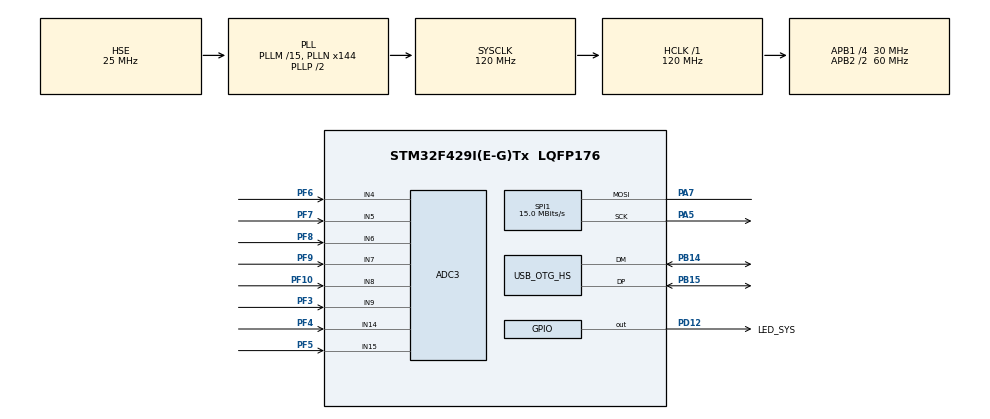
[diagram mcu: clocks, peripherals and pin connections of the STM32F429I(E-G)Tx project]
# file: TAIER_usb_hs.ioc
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ADC3.Channel-0\#ChannelRegularConversion=ADC_CHANNEL_6
ADC3.Channel-1\#ChannelRegularConversion=ADC_CHANNEL_7
ADC3.Channel-2\#ChannelRegularConversion=ADC_CHANNEL_5
ADC3.Channel-3\#ChannelRegularConversion=ADC_CHANNEL_4
ADC3.Channel-4\#ChannelRegularConversion=ADC_CHANNEL_15
ADC3.Channel-5\#ChannelRegularConversion=ADC_CHANNEL_14
ADC3.Channel-6\#ChannelRegularConversion=ADC_CHANNEL_9
ADC3.Channel-7\#ChannelRegularConversion=ADC_CHANNEL_8
ADC3.DMAContinuousRequests=ENABLE
ADC3.NbrOfConversion=8
ADC3.NbrOfConversionFlag=1
ADC3.Rank-0\#ChannelRegularConversion=1
ADC3.Rank-1\#ChannelRegularConversion=2
ADC3.Rank-2\#ChannelRegularConversion=3
ADC3.Rank-3\#ChannelRegularConversion=4
ADC3.Rank-4\#ChannelRegularConversion=5
ADC3.Rank-5\#ChannelRegularConversion=6
ADC3.Rank-6\#ChannelRegularConversion=7
ADC3.Rank-7\#ChannelRegularConversion=8
ADC3.SamplingTime-0\#ChannelRegularConversion=ADC_SAMPLETIME_144CYCLES
ADC3.SamplingTime-1\#ChannelRegularConversion=ADC_SAMPLETIME_144CYCLES
ADC3.SamplingTime-2\#ChannelRegularConversion=ADC_SAMPLETIME_144CYCLES
ADC3.SamplingTime-3\#ChannelRegularConversion=ADC_SAMPLETIME_144CYCLES
ADC3.SamplingTime-4\#ChannelRegularConversion=ADC_SAMPLETIME_144CYCLES
ADC3.SamplingTime-5\#ChannelRegularConversion=ADC_SAMPLETIME_144CYCLES
ADC3.SamplingTime-6\#ChannelRegularConversion=ADC_SAMPLETIME_144CYCLES
ADC3.SamplingTime-7\#ChannelRegularConversion=ADC_SAMPLETIME_144CYCLES
ADC3.ScanConvMode=ENABLE
Dma.ADC3.0.Direction=DMA_PERIPH_TO_MEMORY
Dma.ADC3.0.FIFOMode=DMA_FIFOMODE_ENABLE
Dma.ADC3.0.FIFOThreshold=DMA_FIFO_THRESHOLD_HALFFULL
Dma.ADC3.0.Instance=DMA2_Stream0
Dma.ADC3.0.MemBurst=DMA_MBURST_SINGLE
Dma.ADC3.0.MemDataAlignment=DMA_MDATAALIGN_HALFWORD
Dma.ADC3.0.MemInc=DMA_MINC_ENABLE
Dma.ADC3.0.Mode=DMA_CIRCULAR
Dma.ADC3.0.PeriphBurst=DMA_PBURST_SINGLE
Dma.ADC3.0.PeriphDataAlignment=DMA_PDATAALIGN_HALFWORD
Dma.ADC3.0.PeriphInc=DMA_PINC_DISABLE
Dma.ADC3.0.Priority=DMA_PRIORITY_HIGH
Dma.Request0=ADC3
FREERTOS.BinarySemaphores01=cmdToHandle,Dynamic,NULL,Available
FREERTOS.Mutexes01=xMutexMsgBuff,Dynamic,NULL,Available
FREERTOS.Queues01=xQueueLinkUsbRecvCmd,8,FS_LINK_CMD_FMT,0,Dynamic,NULL,NULL
FREERTOS.Tasks01=defaultTask,24,256,StartDefaultTask,Default,NULL,Dynamic,NULL,NULL;LINK_USB_CMD,26,512,vTaskLinkUsbCmdProcess,Default,NULL,Dynamic,NULL,NULL;LINK_USB_SEND,28,256,vTaskSendMsgToHost,Default,NULL,Dynamic,NULL,NULL;Preesure_Test,25,256,Preesure_Test_Task,Default,NULL,Dynamic,NULL,NULL;cmd_handle,42,128,cmdHandleTask,Default,NULL,Dynamic,NULL,NULL
FREERTOS.configCHECK_FOR_STACK_OVERFLOW=2
FREERTOS.configGENERATE_RUN_TIME_STATS=1
FREERTOS.configTOTAL_HEAP_SIZE=65536
FREERTOS.configUSE_STATS_FORMATTING_FUNCTIONS=1
Mcu.Family=STM32F4
Mcu.Name=STM32F429I(E-G)Tx
Mcu.Package=LQFP176
NVIC.DMA2_Stream0_IRQn=true\:5\:0\:false\:false\:true\:true\:false\:true\:true
NVIC.OTG_HS_EP1_IN_IRQn=true\:5\:0\:false\:false\:true\:true\:true\:true\:true
NVIC.OTG_HS_EP1_OUT_IRQn=true\:5\:0\:false\:false\:true\:true\:true\:true\:true
NVIC.OTG_HS_IRQn=true\:5\:0\:false\:false\:true\:true\:true\:true\:true
NVIC.PriorityGroup=NVIC_PRIORITYGROUP_4
PA13.Mode=Serial_Wire
PA13.Signal=SYS_JTMS-SWDIO
PA14.Mode=Serial_Wire
PA14.Signal=SYS_JTCK-SWCLK
PA5.Mode=Simplex_Bidirectional_Master
PA5.Signal=SPI1_SCK
PA7.Mode=Simplex_Bidirectional_Master
PA7.Signal=SPI1_MOSI
PB14.Mode=Device_Only_FS
PB14.Signal=USB_OTG_HS_DM
PB15.Mode=Device_Only_FS
PB15.Signal=USB_OTG_HS_DP
PC14/OSC32_IN.Mode=LSE-External-Oscillator
PC14/OSC32_IN.Signal=RCC_OSC32_IN
PC15/OSC32_OUT.Mode=LSE-External-Oscillator
PC15/OSC32_OUT.Signal=RCC_OSC32_OUT
PD12.GPIO_Label=LED_SYS
PD12.Signal=GPIO_Output
PF10.Mode=IN8
PF10.Signal=ADC3_IN8
PF3.Mode=IN9
PF3.Signal=ADC3_IN9
PF4.Mode=IN14
PF4.Signal=ADC3_IN14
PF5.Mode=IN15
PF5.Signal=ADC3_IN15
PF6.Mode=IN4
PF6.Signal=ADC3_IN4
PF7.Mode=IN5
PF7.Signal=ADC3_IN5
PF8.Mode=IN6
PF8.Signal=ADC3_IN6
PF9.Mode=IN7
PF9.Signal=ADC3_IN7
PH0/OSC_IN.Mode=HSE-External-Oscillator
PH0/OSC_IN.Signal=RCC_OSC_IN
PH1/OSC_OUT.Mode=HSE-External-Oscillator
PH1/OSC_OUT.Signal=RCC_OSC_OUT
ProjectManager.HeapSize=0x8000
ProjectManager.StackSize=0x8000
ProjectManager.TargetToolchain=MDK-ARM V5.32
RCC.48MHZClocksFreq_Value=48000000
RCC.AHBFreq_Value=120000000
RCC.APB1CLKDivider=RCC_HCLK_DIV4
RCC.APB1Freq_Value=30000000
RCC.APB1TimFreq_Value=60000000
RCC.APB2CLKDivider=RCC_HCLK_DIV2
RCC.APB2Freq_Value=60000000
RCC.APB2TimFreq_Value=120000000
RCC.CortexFreq_Value=120000000
RCC.HCLKFreq_Value=120000000
RCC.HSE_VALUE=25000000
RCC.HSI_VALUE=16000000
RCC.PLLM=15
RCC.PLLN=144
RCC.PLLQ=5
RCC.SYSCLKFreq_VALUE=120000000
RCC.SYSCLKSource=RCC_SYSCLKSOURCE_PLLCLK
RCC.VCOOutputFreq_Value=240000000
SPI1.BaudRatePrescaler=SPI_BAUDRATEPRESCALER_4
SPI1.CLKPolarity=SPI_POLARITY_HIGH
SPI1.CRCCalculation=SPI_CRCCALCULATION_ENABLE
SPI1.CRCPolynomial=X0+X1+X2
SPI1.CalculateBaudRate=15.0 MBits/s
SPI1.DataSize=SPI_DATASIZE_16BIT
SPI1.Direction=SPI_DIRECTION_1LINE
SPI1.Mode=SPI_MODE_MASTER
SPI1.VirtualType=VM_MASTER
TIM10.Period=600-1
TIM10.Prescaler=10-1
USB_DEVICE.CLASS_NAME_HS=CDC
USB_DEVICE.CONFIGURATION_STRING_CDC_HS=WINUSB Config
USB_DEVICE.INTERFACE_STRING_CDC_HS=WINUSB Interface
USB_DEVICE.PID_CDC_HS=0xabcd
USB_DEVICE.PRODUCT_STRING_CDC_HS=TAIER
USB_DEVICE.VID-CDC_HS=0x1234
USB_DEVICE.VirtualMode-CDC_HS=Cdc
USB_DEVICE.VirtualModeHS=Cdc_HS
USB_OTG_HS.VirtualMode-Device_Only_FS=Device_Only_FS
VP_FREERTOS_VS_CMSIS_V2.Mode=CMSIS_V2
VP_TIM10_VS_ClockSourceINT.Mode=Enable_Timer
VP_USB_DEVICE_VS_USB_DEVICE_CDC_HS.Mode=CDC_HS
board=custom

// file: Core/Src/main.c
/* USER CODE BEGIN Header */
/**
  ******************************************************************************
  * @file           : main.c
  * @brief          : Main program body
  ******************************************************************************
  * @attention
  *
  * Copyright (c) 2024 STMicroelectronics.
  * All rights reserved.
  *
  * This software is licensed under terms that can be found in the LICENSE file
  * in the root directory of this software component.
  * If no LICENSE file comes with this software, it is provided AS-IS.
  *
  ******************************************************************************
  */
/* USER CODE END Header */
#include "main.h"
#include "cmsis_os.h"
#include "adc.h"
#include "dma.h"
#include "spi.h"
#include "tim.h"
#include "usb_device.h"
#include "gpio.h"

/* USER CODE BEGIN Includes */
#include "SEGGER_RTT.h"
/* USER CODE END Includes */

/* USER CODE BEGIN PD */
/* With GCC, small printf (option LD Linker->Libraries->Small printf set to 'Yes') calls __io_putchar() */
#ifdef __GNUC__
#define PUTCHAR_PROTOTYPE int __io_putchar(int ch) // 实现__io_putchar函数
#else
#define PUTCHAR_PROTOTYPE int fputc(int ch, FILE *f)
#endif /* __GNUC__ */
/* USER CODE END PD */

void SystemClock_Config(void);
void MX_FREERTOS_Init(void);

/* USER CODE BEGIN 0 */
PUTCHAR_PROTOTYPE
{
	// 实际发�?�操作，这里可以改成自己真实�?要操作的端口
  // HAL_UART_Transmit(&huart3, (uint8_t *)&ch, 1, 0xFFFF);
  SEGGER_RTT_PutChar(0, ch);
  return ch;
}
/* USER CODE END 0 */

int main(void)
{

  /* MCU Configuration--------------------------------------------------------*/

  /* Reset of all peripherals, Initializes the Flash interface and the Systick. */
  HAL_Init();

  /* Configure the system clock */
  SystemClock_Config();

  /* Initialize all configured peripherals */
  MX_GPIO_Init();
  MX_DMA_Init();
  MX_ADC3_Init();
  MX_SPI1_Init();
  MX_TIM10_Init();
  /* USER CODE BEGIN 2 */
  SEGGER_RTT_Init();
  SEGGER_RTT_TerminalOut(0, RTT_CTRL_CLEAR RTT_CTRL_BG_BLACK \
                            RTT_CTRL_TEXT_BRIGHT_GREEN "RTT Terminal 0 is ready.\r\n" \
                            RTT_CTRL_TEXT_BRIGHT_WHITE);
  /* USER CODE END 2 */

  /* Init scheduler */
  osKernelInitialize();

  /* Call init function for freertos objects (in cmsis_os2.c) */
  MX_FREERTOS_Init();

  /* Start scheduler */
  osKernelStart();

  /* We should never get here as control is now taken by the scheduler */

  /* Infinite loop */
  while (1)
  {

  }
}

void SystemClock_Config(void)
{
  RCC_OscInitTypeDef RCC_OscInitStruct = {0};
  RCC_ClkInitTypeDef RCC_ClkInitStruct = {0};

  /** Configure the main internal regulator output voltage
  */
  __HAL_RCC_PWR_CLK_ENABLE();
  __HAL_PWR_VOLTAGESCALING_CONFIG(PWR_REGULATOR_VOLTAGE_SCALE3);

  /** Initializes the RCC Oscillators according to the specified parameters
  * in the RCC_OscInitTypeDef structure.
  */
  RCC_OscInitStruct.OscillatorType = RCC_OSCILLATORTYPE_HSE;
  RCC_OscInitStruct.HSEState = RCC_HSE_ON;
  RCC_OscInitStruct.PLL.PLLState = RCC_PLL_ON;
  RCC_OscInitStruct.PLL.PLLSource = RCC_PLLSOURCE_HSE;
  RCC_OscInitStruct.PLL.PLLM = 15;
  RCC_OscInitStruct.PLL.PLLN = 144;
  RCC_OscInitStruct.PLL.PLLP = RCC_PLLP_DIV2;
  RCC_OscInitStruct.PLL.PLLQ = 5;
  if (HAL_RCC_OscConfig(&RCC_OscInitStruct) != HAL_OK)
  {
    Error_Handler();
  }

  /** Initializes the CPU, AHB and APB buses clocks
  */
  RCC_ClkInitStruct.ClockType = RCC_CLOCKTYPE_HCLK|RCC_CLOCKTYPE_SYSCLK
                              |RCC_CLOCKTYPE_PCLK1|RCC_CLOCKTYPE_PCLK2;
  RCC_ClkInitStruct.SYSCLKSource = RCC_SYSCLKSOURCE_PLLCLK;
  RCC_ClkInitStruct.AHBCLKDivider = RCC_SYSCLK_DIV1;
  RCC_ClkInitStruct.APB1CLKDivider = RCC_HCLK_DIV4;
  RCC_ClkInitStruct.APB2CLKDivider = RCC_HCLK_DIV2;

  if (HAL_RCC_ClockConfig(&RCC_ClkInitStruct, FLASH_LATENCY_3) != HAL_OK)
  {
    Error_Handler();
  }
}

void Error_Handler(void)
{
  __disable_irq();
  while (1)
  {
  }
}

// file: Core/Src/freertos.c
/* USER CODE BEGIN Header */
/**
  ******************************************************************************
  * File Name          : freertos.c
  * Description        : Code for freertos applications
  ******************************************************************************
  * @attention
  *
  * Copyright (c) 2024 STMicroelectronics.
  * All rights reserved.
  *
  * This software is licensed under terms that can be found in the LICENSE file
  * in the root directory of this software component.
  * If no LICENSE file comes with this software, it is provided AS-IS.
  *
  ******************************************************************************
  */
/* USER CODE END Header */

#include "FreeRTOS.h"
#include "task.h"
#include "main.h"
#include "cmsis_os.h"

/* USER CODE BEGIN Includes */
//---------------ADD WT--------------------------
#include "usbd_cdc_if.h"
#include "LinkUsb.h"
#include "queue.h"
#include "stdbool.h"
#include "THE_CMD.h"
//----------------------------------------------------
#include "tim.h"

#include "SEGGER_RTT.h"
#include "lua.h"     // Lua数据类型与函数接�??
#include "lauxlib.h" // Lua与C交互辅助函数接口
#include "lualib.h"  // Lua标准库打�??接口

// #define LUA_LIB
// #include "luaconf.h" // Lua配置文件
#include "lapi.h"
/* USER CODE END Includes */

/* USER CODE BEGIN PD */
#define MSG_BUFF_SIZE 2560	   // 上传给HOST的MSG数据缓冲�????
#define MAX_MSG_LENTH 512
/* USER CODE END PD */

/* USER CODE BEGIN PM */
void *rtos_alloc_for_lua(void *ud, void *ptr, size_t osize, size_t nsize);
void Report_MSG(char *p);
void Report_Test_Script_State(char *p);
bool AddHostCmdtoQueue(uint8_t* pRecvBuff, uint32_t count);
/* USER CODE END PM */

/* USER CODE BEGIN Variables */
//--------------ADD WT-----------------------
uint8_t usb_ep1_rx[2048];
uint8_t usb_ep1_tx[40960];

uint8_t usb_ep3_rx[2048];
uint8_t usb_ep3_tx[40960];

uint8_t usb_ep4_rx[2048];
uint8_t usb_ep4_tx[40960];

volatile int8_t usb_ep1_rxne = RESET;
volatile int8_t usb_ep3_rxne = RESET;
volatile int8_t usb_ep4_rxne = RESET;
volatile int8_t usb_ep3_txne = RESET;
volatile int8_t usb_ep4_txne = RESET;

extern USBD_HandleTypeDef hUsbDeviceHS;
extern uint8_t UserRxBufferHS[APP_RX_DATA_SIZE];

uint8_t MsgSendBuffA[MSG_BUFF_SIZE+28];
uint8_t MsgSendBuffB[MSG_BUFF_SIZE+28];
uint8_t* pCurBuffer = MsgSendBuffA;
uint32_t  MsgSendBuffOffset = 0;

static  uint8_t USB_TX_pktSn =0;
char charBuf[MAX_MSG_LENTH];
uint8_t Test_Script_State_Content[2] = {0x00,0x00};

static RUN_SCRIPT_CMD_FMT RunScriptCmd;
xTaskHandle vHandleTaskRunOneScript;
#define SCRIPT_RUNNER_PRIO   (osPriorityNormal1)
lua_State *L;
uint32_t LED_DELAY = 500;
//-----------------------------------------------

/* USER CODE END Variables */
/* Definitions for defaultTask */
osThreadId_t defaultTaskHandle;
const osThreadAttr_t defaultTask_attributes = {
  .name = "defaultTask",
  .stack_size = 256 * 4,
  .priority = (osPriority_t) osPriorityNormal,
};
/* Definitions for LINK_USB_CMD */
osThreadId_t LINK_USB_CMDHandle;
const osThreadAttr_t LINK_USB_CMD_attributes = {
  .name = "LINK_USB_CMD",
  .stack_size = 512 * 4,
  .priority = (osPriority_t) osPriorityNormal2,
};
/* Definitions for LINK_USB_SEND */
osThreadId_t LINK_USB_SENDHandle;
const osThreadAttr_t LINK_USB_SEND_attributes = {
  .name = "LINK_USB_SEND",
  .stack_size = 256 * 4,
  .priority = (osPriority_t) osPriorityNormal4,
};
/* Definitions for Preesure_Test */
osThreadId_t Preesure_TestHandle;
const osThreadAttr_t Preesure_Test_attributes = {
  .name = "Preesure_Test",
  .stack_size = 128 * 4,
  .priority = (osPriority_t) osPriorityNormal1,
};
/* Definitions for cmd_handle */
osThreadId_t cmd_handleHandle;
const osThreadAttr_t cmd_handle_attributes = {
  .name = "cmd_handle",
  .stack_size = 384 * 4,
  .priority = (osPriority_t) osPriorityHigh2,
};
/* Definitions for xQueueLinkUsbRecvCmd */
osMessageQueueId_t xQueueLinkUsbRecvCmdHandle;
const osMessageQueueAttr_t xQueueLinkUsbRecvCmd_attributes = {
  .name = "xQueueLinkUsbRecvCmd"
};
/* Definitions for xMutexMsgBuff */
osMutexId_t xMutexMsgBuffHandle;
const osMutexAttr_t xMutexMsgBuff_attributes = {
  .name = "xMutexMsgBuff"
};
/* Definitions for cmdToHandle */
osSemaphoreId_t cmdToHandleHandle;
const osSemaphoreAttr_t cmdToHandle_attributes = {
  .name = "cmdToHandle"
};

/* USER CODE BEGIN FunctionPrototypes */
void WinUSB_Receive_HS()
{
	uint16_t i = 0;
	if (usb_ep1_rxne == SET)
	{
		i = usb_ep1_rx[0] + (usb_ep1_rx[1]<<8);
		CDC_Transmit_HS(usb_ep1_rx, i, CDC_IN_EP);
		usb_ep1_rxne = RESET;
	}
	else if(usb_ep3_txne == SET)
	{
		i = usb_ep3_rx[0] + (usb_ep3_rx[1]<<8);
		CDC_Transmit_HS(usb_ep3_rx, i, FS_LINK_IN_EP);
		usb_ep3_rxne = RESET;
	}
  else if(usb_ep4_rxne == SET)
	{
		i = usb_ep4_rx[0] + (usb_ep4_rx[1]<<8);
		CDC_Transmit_HS(usb_ep4_rx, i, EP_ADC_IN);
		usb_ep4_rxne = RESET;
	}
  else if(usb_ep3_rxne == SET)
	{
		i = usb_ep3_rx[0] + (usb_ep3_rx[1]<<8);
		CDC_Transmit_HS(usb_ep3_rx+2, i, FS_LINK_IN_EP);
		usb_ep3_rxne = RESET;
	}

}
//------------------------------------------
/* USER CODE END FunctionPrototypes */

void StartDefaultTask(void *argument);
void vTaskLinkUsbCmdProcess(void *argument);
void vTaskSendMsgToHost(void *argument);
void Preesure_Test_Task(void *argument);
void cmdHandleTask(void *argument);

extern void MX_USB_DEVICE_Init(void);
void MX_FREERTOS_Init(void); /* (MISRA C 2004 rule 8.1) */

/* Hook prototypes */
void configureTimerForRunTimeStats(void);
unsigned long getRunTimeCounterValue(void);
void vApplicationStackOverflowHook(xTaskHandle xTask, signed char *pcTaskName);

/* USER CODE BEGIN 1 */
/* Functions needed when configGENERATE_RUN_TIME_STATS is on */
__weak void configureTimerForRunTimeStats(void)
{
  HAL_TIM_Base_Start_IT(&htim10);
}

__weak unsigned long getRunTimeCounterValue(void)
{
  return (unsigned long)htim10.Instance->CNT;
}
/* USER CODE END 1 */

/* USER CODE BEGIN 4 */
void vApplicationStackOverflowHook(xTaskHandle xTask, signed char *pcTaskName)
{
  (void)xTask;  (void)pcTaskName;
   /* Run time stack overflow checking is performed if
   configCHECK_FOR_STACK_OVERFLOW is defined to 1 or 2. This hook function is
   called if a stack overflow is detected. */
}
/* USER CODE END 4 */

void MX_FREERTOS_Init(void) {
  /* Create the mutex(es) */
  /* creation of xMutexMsgBuff */
  xMutexMsgBuffHandle = osMutexNew(&xMutexMsgBuff_attributes);

  /* Create the semaphores(s) */
  /* creation of cmdToHandle */
  cmdToHandleHandle = osSemaphoreNew(1, 1, &cmdToHandle_attributes);

  /* Create the queue(s) */
  /* creation of xQueueLinkUsbRecvCmd */
  xQueueLinkUsbRecvCmdHandle = osMessageQueueNew (8, sizeof(FS_LINK_CMD_FMT), &xQueueLinkUsbRecvCmd_attributes);

  /* Create the thread(s) */
  /* creation of defaultTask */
  defaultTaskHandle = osThreadNew(StartDefaultTask, NULL, &defaultTask_attributes);

  /* creation of LINK_USB_CMD */
  LINK_USB_CMDHandle = osThreadNew(vTaskLinkUsbCmdProcess, NULL, &LINK_USB_CMD_attributes);

  /* creation of LINK_USB_SEND */
  LINK_USB_SENDHandle = osThreadNew(vTaskSendMsgToHost, NULL, &LINK_USB_SEND_attributes);

  /* creation of Preesure_Test */
  Preesure_TestHandle = osThreadNew(Preesure_Test_Task, NULL, &Preesure_Test_attributes);

  /* creation of cmd_handle */
  cmd_handleHandle = osThreadNew(cmdHandleTask, NULL, &cmd_handle_attributes);

}

/* USER CODE BEGIN Header_StartDefaultTask */
/**
  * @brief  Function implementing the defaultTask thread.
  * @param  argument: Not used
  * @retval None
  */

static int lua_tester(lua_State* L)
{
    printf("Lua tester runned!\r\n");
    return 0;
}

static int lua_delay(lua_State* L)
{
    // 确保栈上只有�?个参�?
    int nargs = lua_gettop(L);
    if (nargs != 1) {
        lua_pushstring(L, "The number of arguments must be 1 in delay!");
        lua_error(L);
        return 0;
    }

    // 读取参数
    lua_Integer ticks = luaL_checkinteger(L, 1);
    if (ticks < 1 || ticks > 0xFFFFFFFF) {
        lua_pushstring(L, "The delay time must be between 1 and 4294967295!");
        lua_error(L);
        return 0;
    }

    osDelay((uint32_t)ticks);

    // 没有返回值，无需将结果压回栈�?
    // lua_pushnumber(L, sum);
    // 返回值的数量
    return 0;
}

static int lua_led_on(lua_State* L)
{
    HAL_GPIO_WritePin(LED_SYS_GPIO_Port, LED_SYS_Pin, GPIO_PIN_RESET);
    return 0;
}

static int lua_led_off(lua_State* L)
{
    HAL_GPIO_WritePin(LED_SYS_GPIO_Port, LED_SYS_Pin, GPIO_PIN_SET);
    return 0;
}

/* USER CODE END Header_StartDefaultTask */
void StartDefaultTask(void *argument)
{
  /* init code for USB_DEVICE */
  MX_USB_DEVICE_Init();
  /* USER CODE BEGIN StartDefaultTask */

  /*
  // 创建 Lua 线程
  lua_State *L = lua_newstate(rtos_alloc_for_lua, NULL);
  if(L != NULL) {
    printf("Lua State Created.\r\n");
  } else {
    printf("Lua State Create Failed!\r\n");
  }
  lua_gc(L, LUA_GCSTOP); // 停止垃圾回收
  luaL_openlibs(L); // 打开标准�?

  // 创建 Lua 任务
  luaL_dostring(L, "print('Naisu, Lua!')");

  // 自定�? C 函数�?
  static const struct luaL_Reg func_lib[] = {
      {"test_print", lua_tester},
      {"delay", lua_delay},
      {"led_on", lua_led_on},
      {"led_off", lua_led_off},
      {NULL, NULL}
  };
  luaL_newlib(L, func_lib); // 创建�?个新的库
  lua_setglobal(L, "testlib"); // 将库设置为全�?变量
  luaL_dostring(L, "testlib.test_print()"); // 通过库调用函�?

  // Lua 循环�?
  luaL_dostring(L, "while true do \
                      testlib.led_on() \
                      testlib.delay(500) \
                      testlib.led_off() \
                      testlib.delay(500) \
                    end");

  */
  /* Infinite loop */
  for(;;)
  {
    // HAL_GPIO_TogglePin(LED_SYS_GPIO_Port, LED_SYS_Pin);
    osDelay(200); // LED 闪烁表明运行到了此处
  }
  /* USER CODE END StartDefaultTask */
}

/* USER CODE BEGIN Header_vTaskLinkUsbCmdProcess */
/**
* @brief Function implementing the myTask02 thread.
* @param argument: Not used
* @retval None
*/
static int lua_change_led_delay(lua_State* L)
{
    // 确保栈上只有�?个参�?
    int nargs = lua_gettop(L);
    if (nargs != 1) {
        lua_pushstring(L, "The number of arguments must be 1 in change led delay!");
        lua_error(L);
        return 0;
    }

    // 读取参数
    lua_Integer ticks = luaL_checkinteger(L, 1);
    if (ticks < 1 || ticks > 0xFFFFFFFF) {
        lua_pushstring(L, "The delay time must be between 1 and 4294967295!");
        lua_error(L);
        return 0;
    }

    LED_DELAY = ticks;

    // 没有返回值，无需将结果压回栈�?
    // lua_pushnumber(L, sum);
    // 返回值的数量
    return 0;
}

void Lua_script_init(){
   // 创建 Lua 线程
  L = lua_newstate(rtos_alloc_for_lua, NULL);
  if(L != NULL) {
    printf("Lua State Created.\r\n");
  } else {
    printf("Lua State Create Failed!\r\n");
  }
  lua_gc(L, LUA_GCSTOP); // 停止垃圾回收
  luaL_openlibs(L); // 打开标准�?

  //创建 Lua 任务
  luaL_dostring(L, "print('Naisu, Lua!')");

  // 自定�? C 函数�?
  static const struct luaL_Reg script_test_func_lib[] = {
      {"change_led_delay", lua_change_led_delay},
      {"delay", lua_delay},
      {NULL, NULL}
  };
  luaL_newlib(L, script_test_func_lib); // 创建�?个新的库
  lua_setglobal(L, "Script_testlib"); // 将库设置为全�?变量

  // luaL_dostring(L, "Script_testlib.change_led_delay(1000)");
}

void vTaskRunOneScript(void *pvParameters)
{
 	RUN_SCRIPT_CMD_FMT* CurrentCmd;
	CurrentCmd = (RUN_SCRIPT_CMD_FMT*)pvParameters;

  // Lua 循环�?
  int DataLength = CurrentCmd->DataLength;
  char* Data =  CurrentCmd->Data;

  luaL_dostring(L, Data);
  /* Infinite loop */
  vPortFree(RunScriptCmd.Data);
  RunScriptCmd.Data = NULL;
  Test_Script_State_Content[0] = 0x04;
  Report_Test_Script_State((char*)Test_Script_State_Content);
  Test_Script_State_Content[0] = 0x00;
  vTaskDelete(NULL);
}
/* USER CODE END Header_vTaskLinkUsbCmdProcess */
void vTaskLinkUsbCmdProcess(void *argument)
{
  /* USER CODE BEGIN vTaskLinkUsbCmdProcess */
  FS_LINK_CMD_FMT RecvCmd;
  static uint8_t TestRunScriptTarget;
  Lua_script_init();
  /* Infinite loop */
  for(;;)
  {
    if(osMessageQueueGet(xQueueLinkUsbRecvCmdHandle,&RecvCmd,NULL,osWaitForever)  == osOK)
	 {
	   //处理收到的有效消�?
		Report_MSG(">>>>>>>>>>>>>>>>>>>  for debug  <<<<<<<<<<<<<<<<<<<<<<<<<<<<<<<<<<<<<<<<<<");
	  sprintf(charBuf,"INFO: cmd = 0x%X,target= 0x%X, para = 0x%X",RecvCmd.cmd,RecvCmd.target,RecvCmd.para) ;
    Report_MSG(charBuf);

		//	GetRunTimeStats();  //run time stat only 须使能TIM3
	   switch(RecvCmd.cmd)
	   {
        case 0x30:
          if(RecvCmd.DataLength != 0){
            RunScriptCmd.target = RecvCmd.target;
            RunScriptCmd.DataLength = RecvCmd.DataLength;
            RunScriptCmd.Data = RecvCmd.Data;
            //xTaskCreate(vTaskRunOneScript,"Run One Script",512,&RunScriptCmd,SCRIPT_RUNNER_PRIO,&vHandleTaskRunOneScript);
          }
          if(RunScriptCmd.DataLength == strlen(RunScriptCmd.Data)){
            sprintf(charBuf,"Script No. 0x%x Received, Script Length  = %d bytes.",RunScriptCmd.target,RunScriptCmd.DataLength);
            Report_MSG(charBuf);
            Test_Script_State_Content[0] = 0x01;
            Report_Test_Script_State((char*)Test_Script_State_Content);
            Test_Script_State_Content[0] = 0x00;
          }
          else{
            Test_Script_State_Content[0] = 0x02;
            Report_Test_Script_State((char*)Test_Script_State_Content);
            Test_Script_State_Content[0] = 0x00;
          }
        break;
        case 0x33:
          TestRunScriptTarget = RecvCmd.target;
          if(TestRunScriptTarget == RunScriptCmd.target){
            xTaskCreate(vTaskRunOneScript,"Run One Script",512,&RunScriptCmd,SCRIPT_RUNNER_PRIO,&vHandleTaskRunOneScript);
            sprintf(charBuf,"Start running test Script No. 0x%x.",RunScriptCmd.target);
            Report_MSG(charBuf);
            Test_Script_State_Content[0] = 0x03;
            Report_Test_Script_State((char*)Test_Script_State_Content);
            Test_Script_State_Content[0] = 0x00;
          }
          else{
            sprintf(charBuf,"Test Script No. 0x%x to run doesn't match local storage No. 0x%x.", TestRunScriptTarget, RunScriptCmd.target);
            Report_MSG(charBuf);
          }
          break;
          case 0x34:
            vTaskDelete(vHandleTaskRunOneScript);
            vPortFree(RunScriptCmd.Data);
            RunScriptCmd.Data = NULL;
            Test_Script_State_Content[0] = 0x05;
            Report_Test_Script_State((char*)Test_Script_State_Content);
            Test_Script_State_Content[0] = 0x00;
          break;

     }
    }
    osDelay(1);
  }
  /* USER CODE END vTaskLinkUsbCmdProcess */
}

void vTaskSendMsgToHost(void *argument)
{
  /* USER CODE BEGIN vTaskSendMsgToHost */
  /* Infinite loop */
  portTickType xLastWakeTime;
	const portTickType xPeriod = (100 * portTICK_RATE_MS);
	uint32_t sendLen;// = MsgSendBuffOffset ;
    uint8_t* pTemp;//= pCurBuffer;
    // UP_FMT* pCmd = (UP_FMT*)(pCurBuffer );

	xLastWakeTime = xTaskGetTickCount();

 for(;;)
 {
   		//sprintf(charBuf,"SendMsgTask Running ,T = %d",xTaskGetTickCount()) ;
	   // Report_MSG(charBuf)	 ;
   if( MsgSendBuffOffset > 0 )	//如果当前指针不为零，就发�?
   {
		// if(DCD_GetEPStatus(&g_USB_link_dev,FS_LINK_IN_EP) == USB_OTG_EP_TX_VALID )

		   //EP valid
		    if(osMutexAcquire(xMutexMsgBuffHandle,MSG_BUFF_WRITE_TIMEOUT)== osOK  )
		    {
			   sendLen =  MsgSendBuffOffset;
			   pTemp = 	 pCurBuffer;

				//switch buffer	,give Semaphore
			   pCurBuffer = pCurBuffer == MsgSendBuffA ? MsgSendBuffB : MsgSendBuffA;
			   MsgSendBuffOffset = 0;
			   osMutexRelease(xMutexMsgBuffHandle);

			   //send
         // send
        uint32_t timeout = 1000; // 设置超时时间（以毫秒为单位）
        uint32_t startTime = osKernelSysTick(); // 获取当前系统时钟
			//    DCD_EP_Tx(&g_USB_link_dev,FS_LINK_IN_EP, (uint8_t*)(pTemp), sendLen);
			   	while(CDC_Transmit_HS((uint8_t*)(pTemp), sendLen, FS_LINK_IN_EP) != USBD_OK){
             // 检查是否超时
            if ((osKernelSysTick() - startTime) >= timeout)
            {
                // 超时，抛弃当前数据
              Report_MSG("ERROR: Transmission Timeout! Data discarded.");
              break;
            }
            //osDelay(10);
          };

			  // Report_MSG("MsgSendBuff Toggled.");
			  // 	GPIO_Toggle(SW_LED1_R) 	;

		    }
			else
			{
			 //EP not valid
			  Report_MSG("ERRO: EP1_TX_NOT_VALID !");
			}

	}

     vTaskDelayUntil(&xLastWakeTime,xPeriod);
  }
  /* USER CODE END vTaskSendMsgToHost */
}

/* USER CODE BEGIN Header_Preesure_Test_Task */
/**
* @brief Function implementing the Preesure_Test thread.
* @param argument: Not used
* @retval None
*/
int epoch = 0;
static int lua_Pressure_test(lua_State* L)
{
    HAL_GPIO_TogglePin(LED_SYS_GPIO_Port, LED_SYS_Pin);
    char pressure_buf [100];
    sprintf(pressure_buf,"Pressure test epoch: %d",epoch++) ;
    Report_MSG(pressure_buf);
    Report_MSG("For Presure MSG1");
    Report_MSG("For Presure MSG2");
    Report_MSG("For Presure MSG3");
    Report_MSG("For Presure MSG4");
    Report_MSG("For Presure MSG5");
    Report_MSG("For Presure MSG6");
    Report_MSG("For Presure MSG7");
    Report_MSG("For Presure MSG8");
    Report_MSG("For Presure MSG9");
    Report_MSG("For Presure MSG10");
    return 0;
}
/* USER CODE END Header_Preesure_Test_Task */
void Preesure_Test_Task(void *argument)
{
  /* USER CODE BEGIN Preesure_Test_Task */
  /*
  // 创建 Lua 线程
  lua_State *L = lua_newstate(rtos_alloc_for_lua, NULL);
  if(L != NULL) {
    printf("Lua State Created.\r\n");
  } else {
    printf("Lua State Create Failed!\r\n");
  }
  lua_gc(L, LUA_GCSTOP); // 停止垃圾回收
  luaL_openlibs(L); // 打开标准�?

  //创建 Lua 任务
  luaL_dostring(L, "print('Naisu, Lua!')");

  // 自定�? C 函数�?
  static const struct luaL_Reg pressure_func_lib[] = {
      {"Pressure_test_10", lua_Pressure_test},
      {"delay", lua_delay},
      {NULL, NULL}
  };
  luaL_newlib(L, pressure_func_lib); // 创建�?个新的库
  lua_setglobal(L, "pressure_testlib"); // 将库设置为全�?变量
  // Lua 循环�?
  luaL_dostring(L, "while true do \
                      pressure_testlib.Pressure_test_10() \
                      pressure_testlib.delay(100) \
                    end");
  */
  /* Infinite loop */
  for(;;)
  {
    HAL_GPIO_TogglePin(LED_SYS_GPIO_Port, LED_SYS_Pin);
    osDelay(LED_DELAY);
  }
  /* USER CODE END Preesure_Test_Task */
}

void cmdHandleTask(void *argument)
{
  /* USER CODE BEGIN cmdHandleTask */
  osSemaphoreAcquire(cmdToHandleHandle, osWaitForever);
  /* Infinite loop */
  for(;;)
  {
    osSemaphoreAcquire(cmdToHandleHandle, osWaitForever);
    AddHostCmdtoQueue(UserRxBufferHS, 0);

    osDelay(1);
  }
  /* USER CODE END cmdHandleTask */
}

/* USER CODE BEGIN Application */
void *rtos_alloc_for_lua(void *ud, void *ptr, size_t osize, size_t nsize) {
    (void)ud; (void)osize;  // not used
    if (nsize == 0) {
        vPortFree(ptr);
        return NULL;
    } else if (ptr == NULL) {
        return pvPortMalloc(nsize);
    } else {
        void *newPtr = pvPortMalloc(nsize);
        if (newPtr != NULL) {
            size_t minSize = (osize < nsize) ? osize : nsize;
            memcpy(newPtr, ptr, minSize);
            vPortFree(ptr);
        }
        return newPtr;
    }
}

bool AddHostCmdtoQueue(uint8_t* pRecvBuff, uint32_t count)
{
	bool success = false;

  DOWN_FMT rxBuffStruct;
	DOWN_FMT *rxBuffPtr = &rxBuffStruct;
	FS_LINK_CMD_FMT LinkCmd;

  memcpy(rxBuffPtr, pRecvBuff, 7);
  memcpy(((uint8_t *)rxBuffPtr)+8, pRecvBuff+7, 2);
  rxBuffPtr->Data = (char *)pvPortMalloc((rxBuffPtr->DataLength) + 1);
  if (rxBuffPtr->Data == NULL)
  {
    SEGGER_RTT_TerminalOut(0, RTT_CTRL_TEXT_BRIGHT_RED "Malloc fail for LUA script!\r\n");
    return false;
  }
  memcpy(rxBuffPtr->Data, pRecvBuff+9, rxBuffPtr->DataLength);
  rxBuffPtr->Data[rxBuffPtr->DataLength] = '\0';

	do{
		// if(count != PC_DOWN_CMD_SIZE)
		{
			// break;
		}

		if(rxBuffPtr->startFlag != DOWN_START_FLAG )
		{
			break;
		}

		//到此，数据有效，将向xQueueLinkUsbRecvCmd发�?�一条消�????
		LinkCmd.cmd =  rxBuffPtr->cmd;
		LinkCmd.target = rxBuffPtr->target;
		LinkCmd.para = 	rxBuffPtr->para;
    LinkCmd.DataLength = rxBuffPtr->DataLength;
    LinkCmd.Data = rxBuffPtr->Data;

		if(osMessageQueuePut(xQueueLinkUsbRecvCmdHandle,&LinkCmd,0,0) != osOK)
		{
		   //xQueueLinkUsbRecvCmd队列已满
		  // GPIO_Toggle(SW_LED2_R) ;	 ;
		}

		success = true;

     }while(false);
   return success;
}

static void AddMsgToBuff(uint8_t infoCategory, uint8_t src, uint8_t msgLen,  uint8_t* content)
 {

	UP_FMT onePkt;

	onePkt.startFlag = UP_START_FLAG;
	onePkt.pktSn = USB_TX_pktSn++	;
	onePkt.ts = xTaskGetTickCount();//GlobleTime;	//fill current time
	onePkt.src = src;
	onePkt.msgType = infoCategory;
	onePkt.msgLenth = 	msgLen;

  if(osMutexAcquire(xMutexMsgBuffHandle,MSG_BUFF_WRITE_TIMEOUT)== osOK  )
	{
	//copy the message header to CurBuff
  	memcpy(pCurBuffer + MsgSendBuffOffset, &onePkt, 12);	//消息头长12 byte
	MsgSendBuffOffset = MsgSendBuffOffset + 12 ;
	//copy the current
	memcpy(pCurBuffer + MsgSendBuffOffset, content, msgLen);	//消息头长12 byte
	MsgSendBuffOffset = MsgSendBuffOffset + msgLen ;

	osMutexRelease(xMutexMsgBuffHandle);
	}
   else
   {
	 //写buff失败，其他程序没有Give xMutexMsgBuff
	//  ;
	//  GPIO_Toggle(SW_LED1_R) ;
   }

}

void Report_MSG(char *p)
{
	AddMsgToBuff(0x00,0,strlen(p)+ 1,(uint8_t*)p);
}

void Report_Test_Script_State(char *p)
{
	AddMsgToBuff(0x07,0,strlen(p)+ 1,(uint8_t*)p);
}
/* USER CODE END Application */
